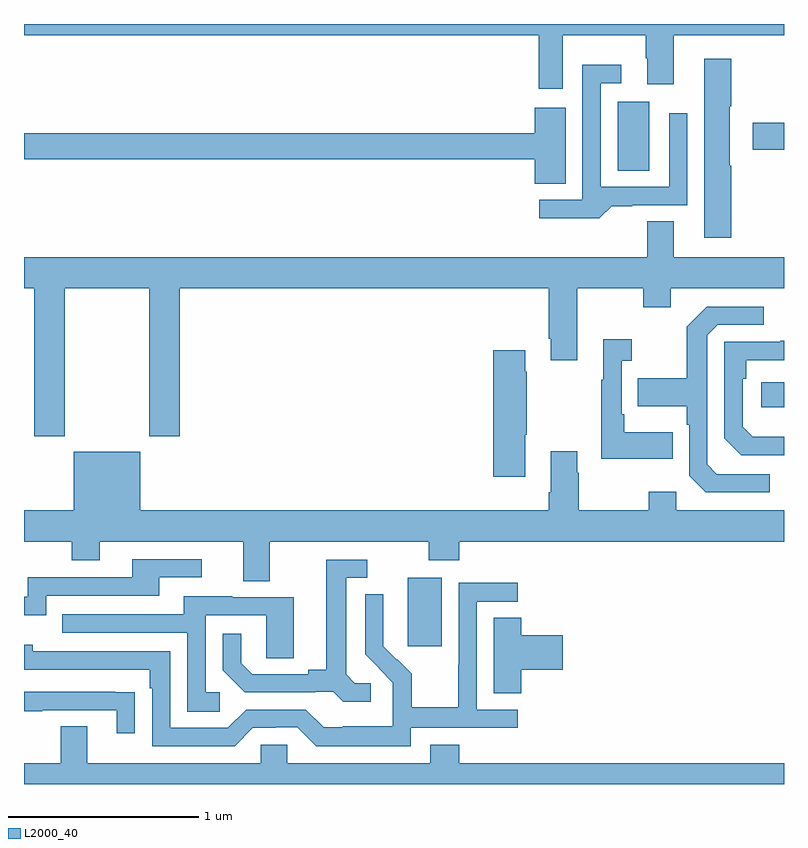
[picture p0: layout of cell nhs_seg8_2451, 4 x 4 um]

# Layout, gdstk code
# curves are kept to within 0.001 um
import gdstk
lib = gdstk.Library(unit=1e-6, precision=1e-09)
def R(c, l, rs):  # rectangles x0, y0, x1, y1
    for r in rs: c.add(gdstk.rectangle(r[:2], r[2:], *l))
def P(c, l, *ps):  # polygons
    for p in ps: c.add(gdstk.Polygon(p, *l))
L2000_40 = (2000, 40)

nhs_seg8_2451 = lib.new_cell('nhs_seg8_2451')
R(nhs_seg8_2451, L2000_40, [(267.02,1106.625,267.199,1106.986), (268.881,1107.884,269,1108.014), (268.124,1109.128,268.291,1109.491), (268.836,1109.237,269,1109.379)])
P(nhs_seg8_2451, L2000_40, [(267.835,1109.84),(268.273,1109.84),(268.273,1109.72),(268.28,1109.72),(268.28,1109.583),(268.42,1109.583),(268.42,1109.84),(269,1109.84),(269,1109.9),(265,1109.9),(265,1109.84),(267.71,1109.84),(267.71,1109.559),(267.835,1109.559)],
  [(268.722,1109.153),(268.714,1109.153),(268.714,1109.467),(268.722,1109.467),(268.722,1109.716),(268.58,1109.716),(268.58,1108.776),(268.722,1108.776)],
  [(268.093,1108.942),(268.201,1108.942),(268.201,1108.947),(268.491,1108.947),(268.491,1109.431),(268.395,1109.431),(268.395,1109.043),(268.035,1109.043),(268.035,1109.589),(268.144,1109.589),(268.144,1109.686),(267.939,1109.686),(267.939,1108.974),(267.711,1108.974),(267.711,1108.877),(268.028,1108.877)],
  [(267.85,1109.458),(267.689,1109.458),(267.689,1109.324),(265,1109.324),(265,1109.188),(267.689,1109.188),(267.689,1109.059),(267.85,1109.059)],
  [(265.215,1108.508),(265.66,1108.508),(265.66,1107.729),(265.82,1107.729),(265.82,1108.508),(267.761,1108.508),(267.761,1108.243),(267.773,1108.243),(267.773,1108.131),(267.913,1108.131),(267.913,1108.508),(268.258,1108.508),(268.258,1108.409),(268.405,1108.409),(268.405,1108.508),(269,1108.508),(269,1108.672),(268.42,1108.672),(268.42,1108.862),(268.28,1108.862),(268.28,1108.672),(265,1108.672),(265,1108.508),(265.055,1108.508),(265.055,1107.729),(265.215,1107.729)],
  [(268.924,1107.531),(268.647,1107.531),(268.596,1107.582),(268.596,1108.263),(268.65,1108.317),(268.894,1108.317),(268.894,1108.413),(268.593,1108.413),(268.488,1108.307),(268.488,1108.035),(268.231,1108.035),(268.231,1107.887),(268.488,1107.887),(268.488,1107.791),(268.5,1107.791),(268.5,1107.522),(268.587,1107.435),(268.924,1107.435)],
  [(268.415,1107.751),(268.159,1107.751),(268.159,1107.847),(268.146,1107.847),(268.146,1108.127),(268.198,1108.127),(268.198,1108.24),(268.049,1108.24),(268.049,1108.027),(268.038,1108.027),(268.038,1107.611),(268.415,1107.611)],
  [(269,1107.727),(268.835,1107.727),(268.782,1107.78),(268.782,1108.034),(268.802,1108.034),(268.802,1108.131),(269,1108.131),(269,1108.232),(268.981,1108.232),(268.981,1108.227),(268.686,1108.227),(268.686,1107.72),(268.776,1107.63),(269,1107.63)],
  [(267.637,1107.739),(267.645,1107.739),(267.645,1108.07),(267.637,1108.07),(267.637,1108.183),(267.47,1108.183),(267.47,1107.516),(267.637,1107.516)],
  [(266.293,1107.176),(267.13,1107.176),(267.13,1107.077),(267.29,1107.077),(267.29,1107.176),(269,1107.176),(269,1107.34),(268.434,1107.34),(268.434,1107.439),(268.288,1107.439),(268.288,1107.34),(267.921,1107.34),(267.921,1107.539),(267.913,1107.539),(267.913,1107.652),(267.773,1107.652),(267.773,1107.436),(267.761,1107.436),(267.761,1107.34),(265.612,1107.34),(265.612,1107.649),(265.262,1107.649),(265.262,1107.34),(265,1107.34),(265,1107.176),(265.252,1107.176),(265.252,1107.077),(265.399,1107.077),(265.399,1107.176),(266.153,1107.176),(266.153,1106.968),(266.293,1106.968)],
  [(265.116,1106.892),(265.711,1106.892),(265.711,1106.988),(265.936,1106.988),(265.936,1107.084),(265.571,1107.084),(265.571,1106.988),(265.02,1106.988),(265.02,1106.886),(265,1106.886),(265,1106.789),(265.116,1106.789)],
  [(266.824,1106.43),(266.742,1106.43),(266.695,1106.477),(266.695,1106.985),(266.806,1106.985),(266.806,1107.081),(266.591,1107.081),(266.591,1106.501),(266.495,1106.501),(266.495,1106.478),(266.2,1106.478),(266.143,1106.535),(266.143,1106.692),(266.046,1106.692),(266.046,1106.498),(266.162,1106.382),(266.534,1106.382),(266.534,1106.385),(266.628,1106.385),(266.68,1106.333),(266.824,1106.333)],
  [(267.036,1106.196),(267.598,1106.196),(267.598,1106.292),(267.384,1106.292),(267.384,1106.859),(267.598,1106.859),(267.598,1106.958),(267.288,1106.958),(267.288,1106.528),(267.286,1106.528),(267.286,1106.305),(267.041,1106.305),(267.041,1106.479),(266.964,1106.556),(266.961,1106.553),(266.891,1106.624),(266.892,1106.9),(266.796,1106.9),(266.796,1106.582),(266.942,1106.434),(266.942,1106.337),(266.94,1106.337),(266.94,1106.203),(266.677,1106.203),(266.677,1106.199),(266.577,1106.199),(266.484,1106.292),(266.169,1106.292),(266.073,1106.196),(265.77,1106.196),(265.77,1106.598),(265.046,1106.598),(265.046,1106.632),(265,1106.632),(265,1106.502),(265.661,1106.502),(265.661,1106.405),(265.674,1106.405),(265.674,1106.1),(266.109,1106.1),(266.205,1106.196),(266.324,1106.196),(266.324,1106.199),(266.439,1106.199),(266.539,1106.099),(267.036,1106.099)],
  [(266.029,1106.382),(265.956,1106.382),(265.956,1106.787),(266.274,1106.787),(266.274,1106.563),(266.419,1106.563),(266.419,1106.883),(266.095,1106.883),(266.095,1106.887),(265.841,1106.887),(265.841,1106.793),(265.201,1106.793),(265.201,1106.697),(265.86,1106.697),(265.86,1106.281),(266.029,1106.281)],
  [(267.617,1106.501),(267.835,1106.501),(267.835,1106.684),(267.617,1106.684),(267.617,1106.774),(267.473,1106.774),(267.473,1106.377),(267.617,1106.377)],
  [(265.583,1106.384),(265.481,1106.384),(265.481,1106.385),(265,1106.385),(265,1106.284),(265.097,1106.284),(265.097,1106.289),(265.487,1106.289),(265.487,1106.166),(265.583,1106.166)],
  [(269,1106.008),(267.29,1106.008),(267.29,1106.107),(267.137,1106.107),(267.137,1106.008),(266.385,1106.008),(266.385,1106.106),(266.247,1106.106),(266.247,1106.008),(265.333,1106.008),(265.333,1106.203),(265.193,1106.203),(265.193,1106.008),(265,1106.008),(265,1105.9),(269,1105.9)])

lib.write_gds('nhs_seg8_2451.gds')
